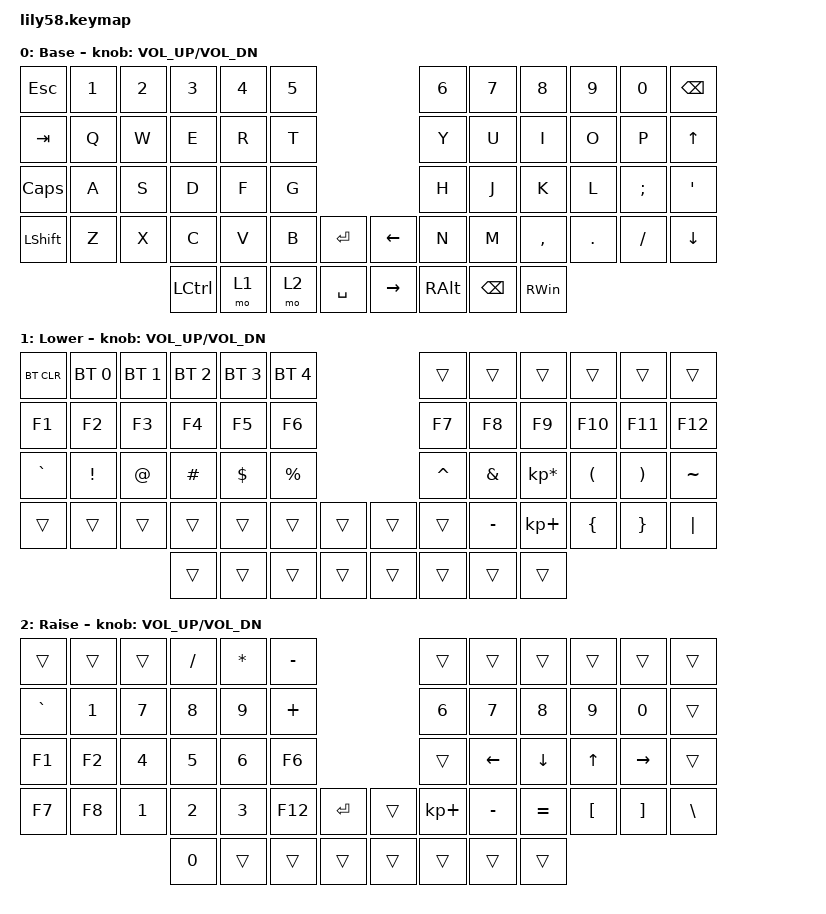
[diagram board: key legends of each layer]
/*
 * Copyright (c) 2020 The ZMK Contributors
 *
 * SPDX-License-Identifier: MIT
 */

#include <behaviors.dtsi>
#include <dt-bindings/zmk/bt.h>
#include <dt-bindings/zmk/keys.h>

/ {
    keymap {
        compatible = "zmk,keymap";

        default_layer {
            // ------------------------------------------------------------------------------------------------------------
            // |  ESC  |  1  |  2  |  3   |  4   |  5   |                   |  6   |  7    |  8    |  9   |   0   |   `   |
            // |  TAB  |  Q  |  W  |  E   |  R   |  T   |                   |  Y   |  U    |  I    |  O   |   P   |   -   |
            // |  CTRL |  A  |  S  |  D   |  F   |  G   |                   |  H   |  J    |  K    |  L   |   ;   |   '   |
            // | SHIFT |  Z  |  X  |  C   |  V   |  B   |   "["  |  |  "]"  |  N   |  M    |  ,    |  .   |   /   | SHIFT |
            //                     | ALT  | GUI  | LOWER|  SPACE |  | ENTER | RAISE| BSPC  | GUI   |

            display-name = "Base";
            bindings = <
&kp ESC       &kp N1  &kp N2  &kp N3            &kp N4  &kp N5                          &kp N6         &kp N7    &kp N8         &kp N9   &kp N0    &kp BACKSPACE
&kp TAB       &kp Q   &kp W   &kp E             &kp R   &kp T                           &kp Y          &kp U     &kp I          &kp O    &kp P     &kp UP_ARROW
&kp CAPSLOCK  &kp A   &kp S   &kp D             &kp F   &kp G                           &kp H          &kp J     &kp K          &kp L    &kp SEMI  &kp SQT
&kp LSHFT     &kp Z   &kp X   &kp C             &kp V   &kp B   &kp ENTER    &kp LEFT   &kp N          &kp M     &kp COMMA      &kp DOT  &kp FSLH  &kp DOWN
                              &kp LEFT_CONTROL  &mo 1   &mo 2   &kp SPACE    &kp RIGHT  &kp RIGHT_ALT  &kp BSPC  &kp RIGHT_WIN
            >;

            sensor-bindings = <&inc_dec_kp C_VOL_UP C_VOL_DN>;
        };

        lower_layer {
            // ------------------------------------------------------------------------------------------------------------
            // | BTCLR | BT1 | BT2 |  BT3 |  BT4 |  BT5 |                   |      |       |       |      |       |       |
            // |  F1   |  F2 |  F3 |  F4  |  F5  |  F6  |                   |  F7  |  F8   |  F9   |  F10 |  F11  |  F12  |
            // |   `   |  !  |  @  |  #   |  $   |  %   |                   |  ^   |  &    |  *    |  (   |   )   |   ~   |
            // |       |     |     |      |      |      |        |  |       |      |  _    |  +    |  {   |   }   |  "|"  |
            //                     |      |      |      |        |  |       |      |       |       |

            display-name = "Lower";
            bindings = <
&bt BT_CLR  &bt BT_SEL 0  &bt BT_SEL 1  &bt BT_SEL 2  &bt BT_SEL 3  &bt BT_SEL 4                    &trans     &trans     &trans           &trans    &trans    &trans
&kp F1      &kp F2        &kp F3        &kp F4        &kp F5        &kp F6                          &kp F7     &kp F8     &kp F9           &kp F10   &kp F11   &kp F12
&kp GRAVE   &kp EXCL      &kp AT        &kp HASH      &kp DOLLAR    &kp PRCNT                       &kp CARET  &kp AMPS   &kp KP_MULTIPLY  &kp LPAR  &kp RPAR  &kp TILDE
&trans      &trans        &trans        &trans        &trans        &trans        &trans    &trans  &trans     &kp MINUS  &kp KP_PLUS      &kp LBRC  &kp RBRC  &kp PIPE
                                        &trans        &trans        &trans        &trans    &trans  &trans     &trans     &trans
            >;

            sensor-bindings = <&inc_dec_kp C_VOL_UP C_VOL_DN>;
        };

        raise_layer {
            // ------------------------------------------------------------------------------------------------------------
            // |       |     |     |      |      |      |                   |      |       |       |      |       |       |
            // |   `   |  1  |  2  |  3   |  4   |  5   |                   |  6   |   7   |   8   |  9   |   0   |       |
            // |   F1  |  F2 |  F3 |  F4  |  F5  |  F6  |                   |      |   <-  |   v   |  ^   |  ->   |       |
            // |   F7  |  F8 |  F9 |  F10 |  F11 |  F12 |        |  |       |  +   |   -   |   =   |  [   |   ]   |   \   |
            //                     |      |      |      |        |  |       |      |       |       |

            display-name = "Raise";
            bindings = <
&trans     &trans  &trans        &kp SLASH     &kp ASTERISK  &kp MINUS                       &trans       &trans     &trans     &trans    &trans     &trans
&kp GRAVE  &kp N1  &kp NUMBER_7  &kp N8        &kp N9        &kp PLUS                        &kp N6       &kp N7     &kp N8     &kp N9    &kp N0     &trans
&kp F1     &kp F2  &kp NUMBER_4  &kp NUMBER_5  &kp NUMBER_6  &kp F6                          &trans       &kp LEFT   &kp DOWN   &kp UP    &kp RIGHT  &trans
&kp F7     &kp F8  &kp NUMBER_1  &kp NUMBER_2  &kp NUMBER_3  &kp F12    &kp ENTER    &trans  &kp KP_PLUS  &kp MINUS  &kp EQUAL  &kp LBKT  &kp RBKT   &kp BSLH
                                 &kp N0        &trans        &trans     &trans       &trans  &trans       &trans     &trans
            >;

            sensor-bindings = <&inc_dec_kp C_VOL_UP C_VOL_DN>;
        };

        extra_1 { status = "reserved"; };

        extra_2 { status = "reserved"; };

        extra_3 { status = "reserved"; };
    };
};
